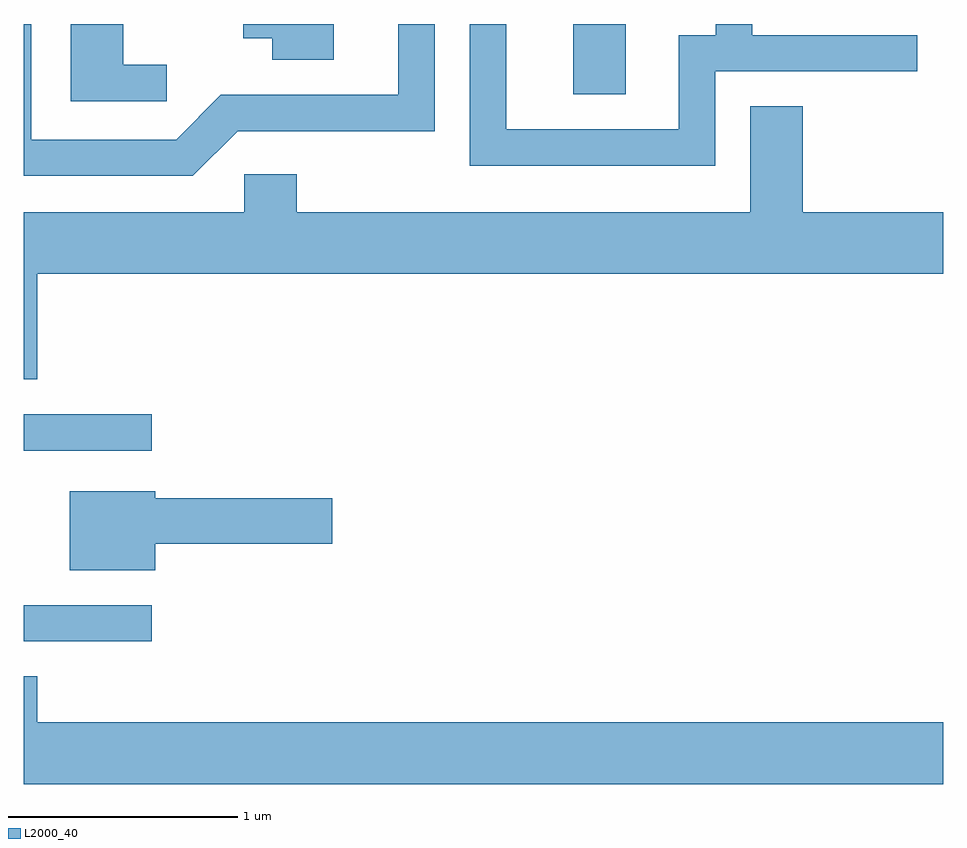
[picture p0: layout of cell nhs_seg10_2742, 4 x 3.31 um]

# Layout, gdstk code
import gdstk
lib = gdstk.Library(unit=1e-6, precision=1e-09)
def R(c, l, rs):  # rectangles x0, y0, x1, y1
    for r in rs: c.add(gdstk.rectangle(r[:2], r[2:], *l))
def P(c, l, *ps):  # polygons
    for p in ps: c.add(gdstk.Polygon(p, *l))
L2000_40 = (2000, 40)

nhs_seg10_2742 = lib.new_cell('nhs_seg10_2742')
R(nhs_seg10_2742, L2000_40, [(265.611,2147.836,266.168,2147.994), (265.611,2148.666,266.168,2148.824), (268.001,2150.216,268.229,2150.522)])
P(nhs_seg10_2742, L2000_40, [(266.542,2150.056),(267.399,2150.056),(267.399,2150.522),(267.241,2150.522),(267.241,2150.214),(266.469,2150.214),(266.274,2150.019),(265.644,2150.019),(265.644,2150.522),(265.611,2150.522),(265.611,2149.861),(266.347,2149.861)],
  [(266.959,2150.522),(266.566,2150.522),(266.566,2150.461),(266.691,2150.461),(266.691,2150.366),(266.959,2150.366)],
  [(268.619,2150.316),(269.498,2150.316),(269.498,2150.474),(268.779,2150.474),(268.779,2150.522),(268.621,2150.522),(268.621,2150.474),(268.461,2150.474),(268.461,2150.064),(267.709,2150.064),(267.709,2150.522),(267.551,2150.522),(267.551,2149.906),(268.619,2149.906)],
  [(266.233,2150.344),(266.044,2150.344),(266.044,2150.522),(265.816,2150.522),(265.816,2150.186),(266.233,2150.186)],
  [(265.669,2149.436),(269.611,2149.436),(269.611,2149.704),(268.999,2149.704),(268.999,2150.164),(268.771,2150.164),(268.771,2149.704),(266.799,2149.704),(266.799,2149.869),(266.571,2149.869),(266.571,2149.704),(265.611,2149.704),(265.611,2148.976),(265.669,2148.976)],
  [(266.184,2148.261),(266.954,2148.261),(266.954,2148.459),(266.184,2148.459),(266.184,2148.489),(265.811,2148.489),(265.811,2148.146),(266.184,2148.146)],
  [(269.611,2147.484),(265.669,2147.484),(265.669,2147.684),(265.611,2147.684),(265.611,2147.216),(269.611,2147.216)])

lib.write_gds('nhs_seg10_2742.gds')
